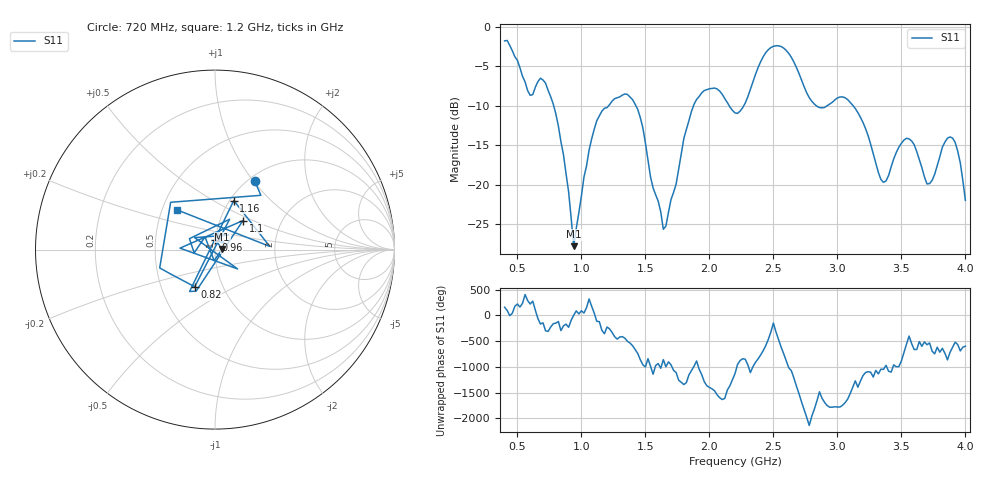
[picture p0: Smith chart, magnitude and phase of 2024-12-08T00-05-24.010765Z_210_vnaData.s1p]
!Created with skrf (http://scikit-rf.org).
# Hz S RI R 50.0
!freq ReS11 ImS11
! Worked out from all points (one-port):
!   181 points, 400 MHz to 4 GHz, reference 50 ohm
!   lowest |S11| = -27.8 dB at 940 MHz (marker M1), VSWR 1.09, Z = 54.2 + j0.371 ohm
!   |S11| at or under -10 dB: 783.7 MHz to 1.212 GHz (427.9 MHz wide, 42.9 % of centre); 1.426 GHz to 1.875 GHz (449.2 MHz wide, 27.2 % of centre); 3.124 GHz to end of sweep (the widest 3 of 5)
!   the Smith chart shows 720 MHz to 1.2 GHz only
!   S11 on the Smith chart (normalised r, x): 720 MHz: 1.08, +1.01; 820 MHz: 0.74, -0.32; 960 MHz: 1.00, +0.11; 1.1 GHz: 1.29, +0.44; 1.16 GHz: 1.04, +0.62; 1.2 GHz: 0.59, +0.29
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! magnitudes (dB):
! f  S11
! 400 MHz  -1.8
! 600 MHz  -8.7
! 720 MHz  -7.1
! 820 MHz  -12.5
! 860 MHz  -16.2
! 940 MHz  -27.8
! 960 MHz  -25.5
! 1.1 GHz  -13.0
! 1.16 GHz  -10.7
! 1.2 GHz  -10.2
! 1.3 GHz  -8.9
! 1.44 GHz  -10.4
! 1.64 GHz  -25.6
! 1.76 GHz  -18.0
! 1.86 GHz  -10.7
! 1.94 GHz  -8.4
! 2.06 GHz  -7.9
! 2.2 GHz  -10.9
! 2.46 GHz  -2.9
! 2.66 GHz  -4.4
! 2.84 GHz  -10.1
! 3.1 GHz  -9.6
! 3.36 GHz  -19.7
! 3.56 GHz  -14.2
! 3.7 GHz  -19.9
! 3.9 GHz  -14.1
! 3.96 GHz  -17.2
! 4 GHz  -22.0
